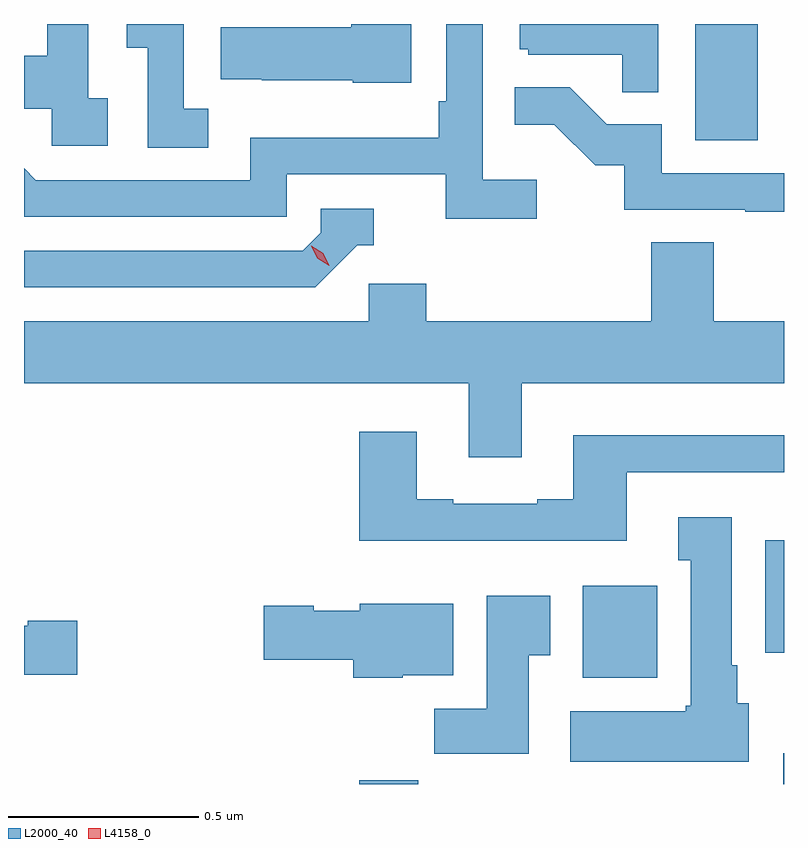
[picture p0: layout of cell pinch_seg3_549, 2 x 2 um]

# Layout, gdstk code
import gdstk
lib = gdstk.Library(unit=1e-6, precision=1e-09)
def R(c, l, rs):  # rectangles x0, y0, x1, y1
    for r in rs: c.add(gdstk.rectangle(r[:2], r[2:], *l))
def P(c, l, *ps):  # polygons
    for p in ps: c.add(gdstk.Polygon(p, *l))
L2000_40 = (2000, 40)
L4158_0 = (4158, 0)

pinch_seg3_549 = lib.new_cell('pinch_seg3_549')
R(pinch_seg3_549, L2000_40, [(1105.091,689.206,1105.247,689.216), (1106.207,689.206,1106.209,689.287), (1105.679,689.486,1105.876,689.728), (1106.159,689.552,1106.209,689.848), (1105.976,690.9,1106.14,691.206)])
P(pinch_seg3_549, L2000_40, [(1104.694,690.983),(1104.63,690.983),(1104.63,691.206),(1104.479,691.206),(1104.479,691.144),(1104.534,691.144),(1104.534,690.88),(1104.694,690.88)],
  [(1105.878,691.206),(1105.514,691.206),(1105.514,691.14),(1105.536,691.14),(1105.536,691.125),(1105.783,691.125),(1105.783,691.027),(1105.878,691.027)],
  [(1104.43,691.01),(1104.378,691.01),(1104.378,691.206),(1104.27,691.206),(1104.27,691.123),(1104.209,691.123),(1104.209,690.983),(1104.282,690.983),(1104.282,690.885),(1104.43,690.885)],
  [(1105.558,690.796),(1105.416,690.796),(1105.416,691.206),(1105.32,691.206),(1105.32,691.003),(1105.3,691.003),(1105.3,690.907),(1104.804,690.907),(1104.804,690.795),(1104.24,690.795),(1104.209,690.826),(1104.209,690.699),(1104.9,690.699),(1104.9,690.81),(1105.319,690.81),(1105.319,690.694),(1105.558,690.694)],
  [(1105.228,691.206),(1105.07,691.206),(1105.07,691.198),(1104.727,691.198),(1104.727,691.061),(1104.835,691.061),(1104.835,691.058),(1105.074,691.058),(1105.074,691.052),(1105.228,691.052)],
  [(1106.209,690.813),(1105.887,690.813),(1105.887,690.942),(1105.743,690.942),(1105.645,691.04),(1105.501,691.04),(1105.501,690.941),(1105.605,690.941),(1105.712,690.834),(1105.789,690.834),(1105.789,690.717),(1106.107,690.717),(1106.107,690.712),(1106.209,690.712)],
  [(1105.086,690.624),(1105.129,690.624),(1105.129,690.72),(1104.99,690.72),(1104.99,690.657),(1104.942,690.609),(1104.209,690.609),(1104.209,690.513),(1104.975,690.513)],
  [(1105.519,690.26),(1106.209,690.26),(1106.209,690.424),(1106.024,690.424),(1106.024,690.632),(1105.859,690.632),(1105.859,690.424),(1105.268,690.424),(1105.268,690.522),(1105.116,690.522),(1105.116,690.424),(1104.209,690.424),(1104.209,690.26),(1105.379,690.26),(1105.379,690.066),(1105.519,690.066)],
  [(1105.795,690.027),(1106.209,690.027),(1106.209,690.124),(1105.655,690.124),(1105.655,689.956),(1105.559,689.956),(1105.559,689.943),(1105.339,689.943),(1105.339,689.956),(1105.243,689.956),(1105.243,690.133),(1105.091,690.133),(1105.091,689.846),(1105.795,689.846)],
  [(1106.116,689.418),(1106.086,689.418),(1106.086,689.518),(1106.071,689.518),(1106.071,689.908),(1105.931,689.908),(1105.931,689.795),(1105.964,689.795),(1105.964,689.412),(1105.951,689.412),(1105.951,689.398),(1105.647,689.398),(1105.647,689.264),(1106.116,689.264)],
  [(1105.537,689.545),(1105.594,689.545),(1105.594,689.701),(1105.427,689.701),(1105.427,689.404),(1105.288,689.404),(1105.288,689.286),(1105.537,689.286)],
  [(1105.206,689.492),(1105.339,689.492),(1105.339,689.68),(1105.092,689.68),(1105.092,689.662),(1104.972,689.662),(1104.972,689.675),(1104.84,689.675),(1104.84,689.533),(1105.076,689.533),(1105.076,689.486),(1105.206,689.486)],
  [(1104.349,689.636),(1104.219,689.636),(1104.219,689.623),(1104.209,689.623),(1104.209,689.494),(1104.349,689.494)])
P(pinch_seg3_549, L4158_0, [(1105.012,690.57),(1104.981,690.589),(1104.965,690.622),(1104.965,690.622),(1104.965,690.622),(1104.996,690.603),(1105.012,690.57),(1105.012,690.57)])

lib.write_gds('pinch_seg3_549.gds')
